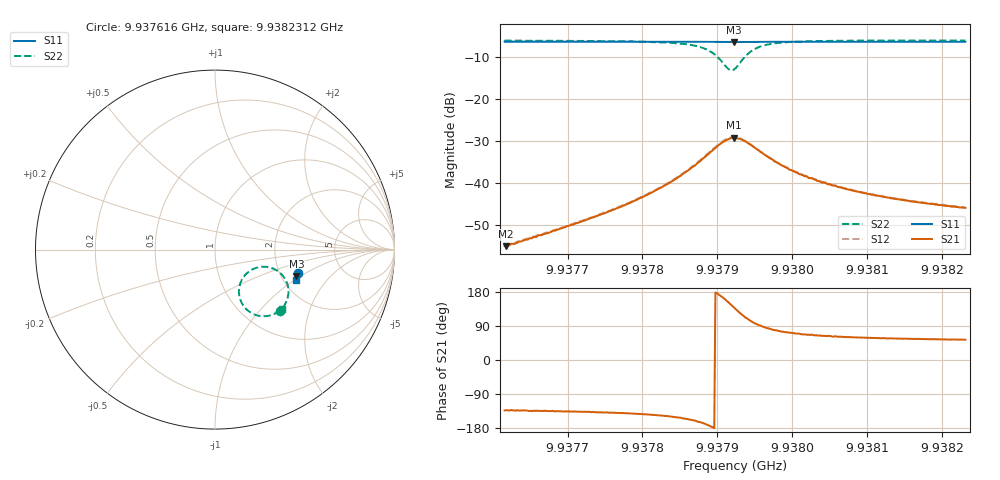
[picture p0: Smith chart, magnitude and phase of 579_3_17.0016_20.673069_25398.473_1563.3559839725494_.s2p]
#  HZ  S  RI  R  50.00
! Rohde & Schwarz Vector Network Analyzer
! Rohde-Schwarz,ZNB20-2Port,1311601062101988,3.16
! Created: UTC 3/20/2024, 11:18:03 PM
! freq[Hz]  re:S11  im:S11  re:S21  im:S21  re:S12  im:S12  re:S22  im:S22
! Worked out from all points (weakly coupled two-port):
!   401 points, 9.937616 GHz to 9.9382312 GHz, reference 50 ohm
!   highest |S21| = -29.16 dB at 9.9379221 GHz (marker M1); lowest = -54.9 dB at 9.9376176 GHz (marker M2)
!   lowest |S11| = -6.4 dB at 9.9379221 GHz (marker M3), VSWR 2.82, Z = 121 - j45.9 ohm
!   |S11| at or under -10 dB: nowhere
!   |S22| runs from -13.2 to -6.1 dB; largest |S21 - S12| = 0.0016
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9.93761602e9  0.4646 -0.1291  -0.00123 -0.00132  -0.00126 -0.00128  0.3608 -0.3393
9.93761756e9  0.4646 -0.1292  -0.00122 -0.00131  -0.00124 -0.00132  0.3604 -0.3396
9.93771906e9  0.4621 -0.1361  -0.00256 -0.0024  -0.00264 -0.00242  0.3433 -0.3512
9.93777903e9  0.4605 -0.1403  -0.00435 -0.0036  -0.0045 -0.00356  0.3245 -0.361
9.93782209e9  0.4592 -0.1432  -0.00713 -0.00484  -0.00735 -0.00482  0.2984 -0.369
9.93785746e9  0.4578 -0.1458  -0.0122 -0.00576  -0.0125 -0.00568  0.2549 -0.3705
9.93787284e9  0.4569 -0.1469  -0.0164 -0.00525  -0.0167 -0.00522  0.2222 -0.3626
9.93788514e9  0.4558 -0.1474  -0.0207 -0.00374  -0.0215 -0.00353  0.1874 -0.3429
9.93789591e9  0.4551 -0.1478  -0.0257 -4.16e-05  -0.0263 0.000578  0.1538 -0.3062
9.93790667e9  0.4541 -0.1478  -0.0296 0.00747  -0.0301 0.0085  0.133 -0.2396
9.9379159e9  0.4536 -0.1473  -0.0293 0.0167  -0.0295 0.0183  0.1505 -0.1663
9.93792205e9  0.4537 -0.1468  -0.0262 0.0229  -0.0258 0.0241  0.1863 -0.1241
9.93792359e9  0.4538 -0.1468  -0.0249 0.0239  -0.0245 0.0254  0.1979 -0.1163
9.93793128e9  0.4544 -0.1466  -0.0177 0.0282  -0.017 0.0294  0.2607 -0.0958
9.93794204e9  0.4553 -0.1469  -0.00821 0.0283  -0.00727 0.029  0.3352 -0.1109
9.93795742e9  0.4559 -0.1484  -0.000292 0.0236  0.000365 0.0238  0.3891 -0.1613
9.9379728e9  0.4561 -0.1498  0.00301 0.0191  0.00365 0.019  0.4064 -0.204
9.93799587e9  0.4556 -0.1518  0.00441 0.0139  0.00482 0.0141  0.409 -0.2453
9.93802662e9  0.4551 -0.1542  0.00457 0.0105  0.00484 0.0103  0.4029 -0.2757
9.93807276e9  0.4539 -0.1575  0.00421 0.0074  0.00436 0.00743  0.3932 -0.2997
9.93812966e9  0.4523 -0.1616  0.00368 0.00567  0.00379 0.00563  0.3833 -0.3155
9.93823115e9  0.4495 -0.1682  0.00304 0.00411  0.00315 0.00409  0.3713 -0.3315
